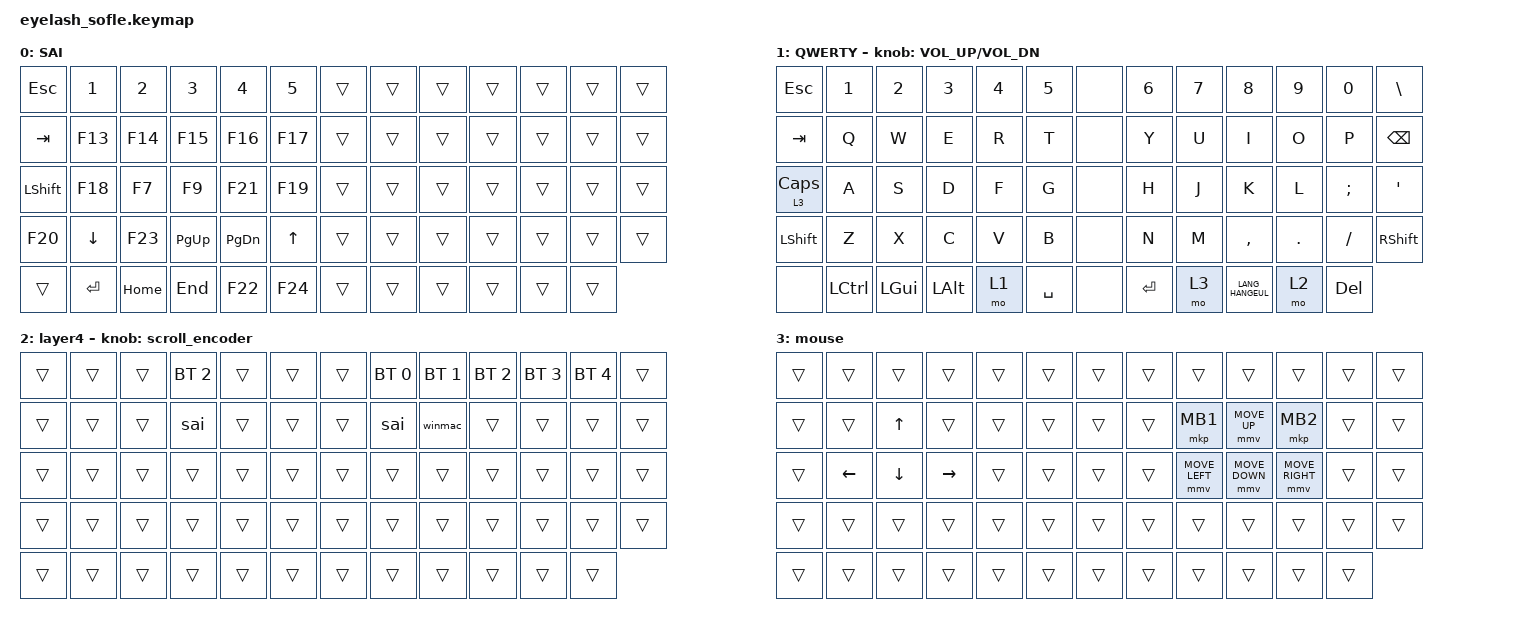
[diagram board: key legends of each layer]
#define ZMK_POINTING_DEFAULT_MOVE_VAL 1200  // 600
#define ZMK_POINTING_DEFAULT_SCRL_VAL 25   // 10

#include <input/processors.dtsi>
#include <zephyr/dt-bindings/input/input-event-codes.h>
#include <behaviors.dtsi>
#include <dt-bindings/zmk/bt.h>
#include <dt-bindings/zmk/keys.h>
#include <dt-bindings/zmk/pointing.h>

&mmv_input_listener { input-processors = <&zip_xy_scaler 2 1>; };

&msc_input_listener { input-processors = <&zip_scroll_scaler 2 1>; };

&msc {
    acceleration-exponent = <1>;      // 0
    time-to-max-speed-ms = <100>;       // 300
    delay-ms = <0>;                   // 0
};

&mmv {
    time-to-max-speed-ms = <500>;
    acceleration-exponent = <1>;
    trigger-period-ms = <16>;
};

&soft_off { hold-time-ms = <2000>; };

/ {
    scroll_encoder: scroll_encoder {
        compatible = "zmk,behavior-sensor-rotate";
        #sensor-binding-cells = <0>;
        bindings = <&msc SCRL_DOWN>, <&msc SCRL_UP>;

        tap-ms = <100>;
    };

    behaviors {
    };

    combos {
        compatible = "zmk,combos";

        softoff {
            bindings = <&soft_off>;
            key-positions = <14 28 40>;
        };
    };

    macros {
        sai: sai {
            compatible = "zmk,behavior-macro";
            #binding-cells = <0>;
            bindings =
                <&macro_press>,
                <&to 0 &kp LA(LS(LC(L)))>,
                <&macro_release>,
                <&to 0 &kp LC(LA(LS(L)))>;

            label = "SAI";
        };

        winmac: winmac {
            compatible = "zmk,behavior-macro";
            #binding-cells = <0>;
            bindings =
                <&macro_press>,
                <&to 2 &kp F6>,
                <&macro_release>,
                <&kp F6 &to 2>;

            label = "WINMAC";
            wait-ms = <0>;
        };

        kp60: kp60 {
            compatible = "zmk,behavior-macro";
            #binding-cells = <0>;
            bindings =
                <&macro_tap>,
                <&kp NUMBER_6>,
                <&macro_pause_for_release>,
                <&macro_tap>,
                <&kp N7>;

            label = "kp60";
        };

        saialt: saialt {
            compatible = "zmk,behavior-macro";
            #binding-cells = <0>;
            bindings =
                <&macro_press>,
                <&kp LEFT_ALT &mo 0>,
                <&macro_pause_for_release>,
                <&macro_release>,
                <&kp LEFT_ALT &mo 0>;

            label = "SAIALT";
        };

        kp90: kp90 {
            compatible = "zmk,behavior-macro";
            #binding-cells = <0>;
            bindings =
                <&macro_tap>,
                <&kp N8>,
                <&macro_pause_for_release>,
                <&macro_tap>,
                <&kp N7>;

            label = "kp90";
        };

        space: space {
            compatible = "zmk,behavior-macro";
            #binding-cells = <0>;
            bindings =
                <&macro_release>,
                <&mkp LCLK>,
                <&macro_wait_time 10>,
                <&macro_press>,
                <&kp SPACE>,
                <&macro_pause_for_release>,
                <&macro_release>,
                <&kp SPACE>;

            label = "SPACE";
        };

        sai_ctrl: sai_ctrl {
            compatible = "zmk,behavior-macro";
            #binding-cells = <0>;
            bindings =
                <&macro_press>,
                <&kp LCTRL &mo 1>,
                <&macro_pause_for_release>,
                <&macro_release>,
                <&kp LCTRL &mo 1>;

            label = "SAI_CTRL";
        };

        sai_magic: sai_magic {
            compatible = "zmk,behavior-macro";
            #binding-cells = <0>;
            bindings =
                <&macro_release>,
                <&kp LEFT_ALT>,
                <&macro_tap>,
                <&kp MINUS>,
                <&macro_pause_for_release>,
                <&macro_tap>,
                <&mo 1>;

            label = "SAI_MAGIC";
        };

        ctrl_space: ctrl_space {
            compatible = "zmk,behavior-macro";
            #binding-cells = <0>;
            bindings =
                <&macro_press>,
                <&mo 1 &kp SPACE>,
                <&macro_pause_for_release>,
                <&macro_release>,
                <&mo 1 &kp SPACE>;

            label = "CTRL_SPACE";
        };

        ctrlspace2: ctrlspace2 {
            compatible = "zmk,behavior-macro";
            #binding-cells = <0>;
            bindings =
                <&macro_press>,
                <&mo 1 &kp SPACE>,
                <&macro_pause_for_release>,
                <&macro_release>,
                <&mo 1 &kp SPACE>;

            label = "CTRLSPACE2";
        };
    };

    keymap {
        compatible = "zmk,keymap";

        SAI {
            bindings = <
&kp ESCAPE      &kp N1          &kp N2    &kp N3       &kp N4         &kp N5          &trans  &trans  &trans  &trans  &trans  &trans  &trans
&kp TAB         &kp F13         &kp F14   &kp F15      &kp F16        &kp F17         &trans  &trans  &trans  &trans  &trans  &trans  &trans
&kp LEFT_SHIFT  &kp F18         &kp F7    &kp F9       &kp F21        &kp F19         &trans  &trans  &trans  &trans  &trans  &trans  &trans
&kp F20         &kp DOWN_ARROW  &kp F23   &kp PAGE_UP  &kp PAGE_DOWN  &kp UP_ARROW    &trans  &trans  &trans  &trans  &trans  &trans  &trans
&trans          &kp ENTER       &kp HOME  &kp END      &kp F22        &kp F24         &trans  &trans  &trans  &trans  &trans  &trans
            >;

            label = "SAI";
        };

        default {
            bindings = <
&kp ESC     &kp N1     &kp N2        &kp N3        &kp N4  &kp N5       &none  &kp N6     &kp N7  &kp N8            &kp N9   &kp N0      &kp BACKSLASH
&kp TAB     &kp Q      &kp W         &kp E         &kp R   &kp T        &none  &kp Y      &kp U   &kp I             &kp O    &kp P       &kp BACKSPACE
&lt 3 CAPS  &kp A      &kp S         &kp D         &kp F   &kp G        &none  &kp H      &kp J   &kp K             &kp L    &kp SEMI    &kp APOS
&kp LSHFT   &kp Z      &kp X         &kp C         &kp V   &kp B        &none  &kp N      &kp M   &kp COMMA         &kp DOT  &kp FSLH    &kp RIGHT_SHIFT
&none       &kp LCTRL  &kp LEFT_GUI  &kp LEFT_ALT  &mo 1   &kp SPACE    &none  &kp ENTER  &mo 3   &kp LANG_HANGEUL  &mo 2    &kp DELETE
            >;

            sensor-bindings = <&inc_dec_kp C_VOLUME_UP C_VOL_DN>;
            display-name = "QWERTY";
        };

        layer {
            bindings = <
&trans  &trans  &trans  &bt BT_SEL 2  &trans  &trans    &trans  &bt BT_SEL 0  &bt BT_SEL 1  &bt BT_SEL 2  &bt BT_SEL 3  &bt BT_SEL 4  &trans
&trans  &trans  &trans  &sai          &trans  &trans    &trans  &sai          &winmac       &trans        &trans        &trans        &trans
&trans  &trans  &trans  &trans        &trans  &trans    &trans  &trans        &trans        &trans        &trans        &trans        &trans
&trans  &trans  &trans  &trans        &trans  &trans    &trans  &trans        &trans        &trans        &trans        &trans        &trans
&trans  &trans  &trans  &trans        &trans  &trans    &trans  &trans        &trans        &trans        &trans        &trans
            >;

            display-name = "layer4";
            sensor-bindings = <&scroll_encoder>;
        };

        mouse {
            bindings = <
&trans  &trans    &trans    &trans     &trans  &trans    &trans  &trans  &trans          &trans          &trans           &trans  &trans
&trans  &trans    &kp UP    &trans     &trans  &trans    &trans  &trans  &mkp MB1        &mmv MOVE_UP    &mkp MB2         &trans  &trans
&trans  &kp LEFT  &kp DOWN  &kp RIGHT  &trans  &trans    &trans  &trans  &mmv MOVE_LEFT  &mmv MOVE_DOWN  &mmv MOVE_RIGHT  &trans  &trans
&trans  &trans    &trans    &trans     &trans  &trans    &trans  &trans  &trans          &trans          &trans           &trans  &trans
&trans  &trans    &trans    &trans     &trans  &trans    &trans  &trans  &trans          &trans          &trans           &trans
            >;
        };
    };
};
